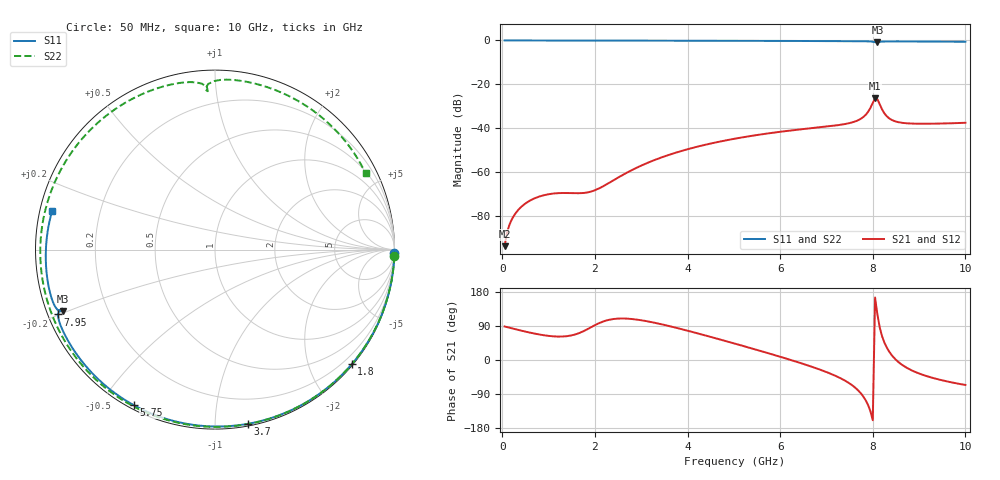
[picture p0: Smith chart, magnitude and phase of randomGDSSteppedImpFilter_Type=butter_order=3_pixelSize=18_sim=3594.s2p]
! freq	dB(S11)	phase(S11)	dB(S12)	phase(S12)
!  dB(S21)	phase(S21)	dB(S22)	phase(S22)
!S-par simulation data
#  GHz  S  DB  R 50
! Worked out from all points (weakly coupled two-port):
!   200 points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, 50 MHz to 10 GHz, reference 50 ohm
!   highest |S21| = -26.40 dB at 8.05 GHz (marker M1); lowest = -93.6 dB at 50 MHz (marker M2)
!   lowest |S11| = -0.8 dB at 8.1 GHz (marker M3), VSWR 21.64, Z = 2.4 - j9.69 ohm
!   |S11| at or under -10 dB: nowhere
!   |S22| runs from -1.1 to 0.0 dB; largest |S21 - S12| = 0
!   S11 on the Smith chart (normalised r, x): 50 MHz: open; 1.8 GHz: 0.02, -2.75; 3.7 GHz: 0.02, -1.21; 5.75 GHz: 0.02, -0.61; 7.95 GHz: 0.03, -0.20; 10 GHz: 0.04, +0.12
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0.05  -0.00 -1.1  -93.59 88.4  -93.59 88.4  -0.00 -2.1
0.25  -0.01 -5.7  -79.74 82.2  -79.74 82.2  -0.01 -10.2
0.5  -0.01 -11.3  -74.16 74.9  -74.16 74.9  -0.03 -20.3
0.85  -0.02 -19.1  -70.68 66.2  -70.68 66.2  -0.04 -34.3
1.75  -0.05 -38.9  -69.40 75.9  -69.40 75.9  -0.08 -68.6
1.8  -0.05 -40.0  -69.27 78.9  -69.27 78.9  -0.09 -70.5
2.55  -0.07 -55.9  -61.79 109.5  -61.79 109.5  -0.11 -96.8
3.4  -0.10 -73.3  -53.51 95.3  -53.51 95.3  -0.14 -124.5
3.7  -0.11 -79.2  -51.36 86.7  -51.36 86.7  -0.16 -133.8
5.05  -0.16 -104.9  -44.58 42.3  -44.58 42.3  -0.22 -174.2
5.75  -0.20 -117.6  -42.25 17.7  -42.25 17.7  -0.26 165.1
6.7  -0.26 -134.4  -39.86 -18.5  -39.86 -18.5  -0.33 136.2
7.6  -0.34 -150.5  -36.99 -70.9  -36.99 -70.9  -0.42 107.2
7.8  -0.37 -154.3  -34.77 -97.1  -34.77 -97.1  -0.47 100.2
7.95  -0.48 -157.6  -30.63 -135.5  -30.63 -135.5  -0.65 94.5
8.05  -0.79 -158.9  -26.40 164.8  -26.40 164.8  -1.08 92.6
8.1  -0.80 -158.0  -26.72 120.4  -26.72 120.4  -0.98 93.5
8.25  -0.49 -160.3  -33.14 46.3  -33.14 46.3  -0.48 88.1
8.35  -0.45 -162.4  -35.37 23.0  -35.37 23.0  -0.44 84.2
8.6  -0.45 -167.2  -37.37 -9.9  -37.37 -9.9  -0.43 75.1
9.1  -0.50 -176.4  -37.90 -40.0  -37.90 -40.0  -0.46 57.7
10  -0.61 166.6  -37.45 -65.9  -37.45 -65.9  -0.53 26.9
